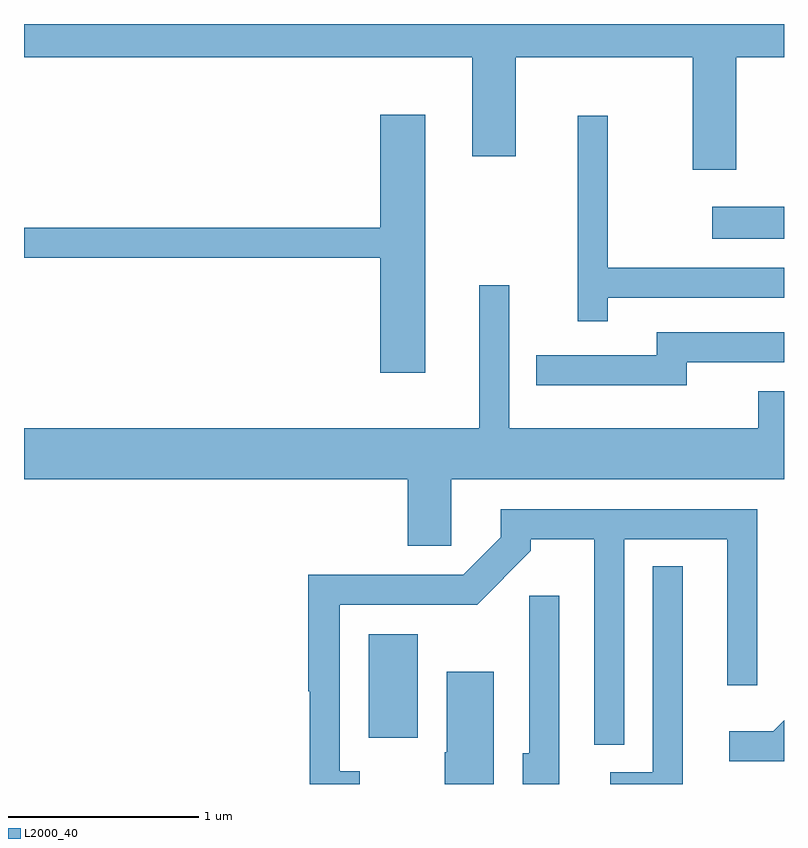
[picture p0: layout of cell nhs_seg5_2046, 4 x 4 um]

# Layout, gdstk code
import gdstk
lib = gdstk.Library(unit=1e-6, precision=1e-09)
def R(c, l, rs):  # rectangles x0, y0, x1, y1
    for r in rs: c.add(gdstk.rectangle(r[:2], r[2:], *l))
def P(c, l, *ps):  # polygons
    for p in ps: c.add(gdstk.Polygon(p, *l))
L2000_40 = (2000, 40)

nhs_seg5_2046 = lib.new_cell('nhs_seg5_2046')
R(nhs_seg5_2046, L2000_40, [(247.426,1464.316,247.684,1464.859), (249.233,1466.941,249.611,1467.109)])
P(nhs_seg5_2046, L2000_40, [(249.359,1467.896),(249.611,1467.896),(249.611,1468.072),(245.611,1468.072),(245.611,1467.896),(247.971,1467.896),(247.971,1467.376),(248.199,1467.376),(248.199,1467.896),(249.131,1467.896),(249.131,1467.306),(249.359,1467.306)],
  [(247.724,1467.594),(247.486,1467.594),(247.486,1466.999),(245.611,1466.999),(245.611,1466.841),(247.486,1466.841),(247.486,1466.236),(247.724,1466.236)],
  [(248.684,1466.631),(249.611,1466.631),(249.611,1466.789),(248.684,1466.789),(248.684,1467.588),(248.526,1467.588),(248.526,1466.508),(248.684,1466.508)],
  [(247.859,1465.676),(249.611,1465.676),(249.611,1466.139),(249.476,1466.139),(249.476,1465.944),(248.164,1465.944),(248.164,1466.698),(248.006,1466.698),(248.006,1465.944),(245.611,1465.944),(245.611,1465.676),(247.631,1465.676),(247.631,1465.326),(247.859,1465.326)],
  [(249.099,1466.291),(249.611,1466.291),(249.611,1466.449),(248.941,1466.449),(248.941,1466.329),(248.308,1466.329),(248.308,1466.171),(249.099,1466.171)],
  [(247.378,1464.139),(247.274,1464.139),(247.274,1465.016),(247.997,1465.016),(248.279,1465.299),(248.279,1465.361),(248.611,1465.361),(248.611,1464.278),(248.769,1464.278),(248.769,1465.361),(249.311,1465.361),(249.311,1464.593),(249.469,1464.593),(249.469,1465.519),(248.121,1465.519),(248.121,1465.372),(247.924,1465.174),(247.106,1465.174),(247.106,1464.56),(247.116,1464.56),(247.116,1464.072),(247.378,1464.072)],
  [(249.079,1465.218),(248.921,1465.218),(248.921,1464.134),(248.696,1464.134),(248.696,1464.072),(249.079,1464.072)],
  [(248.429,1465.063),(248.271,1465.063),(248.271,1464.234),(248.236,1464.234),(248.236,1464.072),(248.429,1464.072)],
  [(248.084,1464.664),(247.836,1464.664),(247.836,1464.24),(247.826,1464.24),(247.826,1464.072),(248.084,1464.072)],
  [(249.611,1464.407),(249.554,1464.349),(249.323,1464.349),(249.323,1464.191),(249.611,1464.191)])

lib.write_gds('nhs_seg5_2046.gds')
